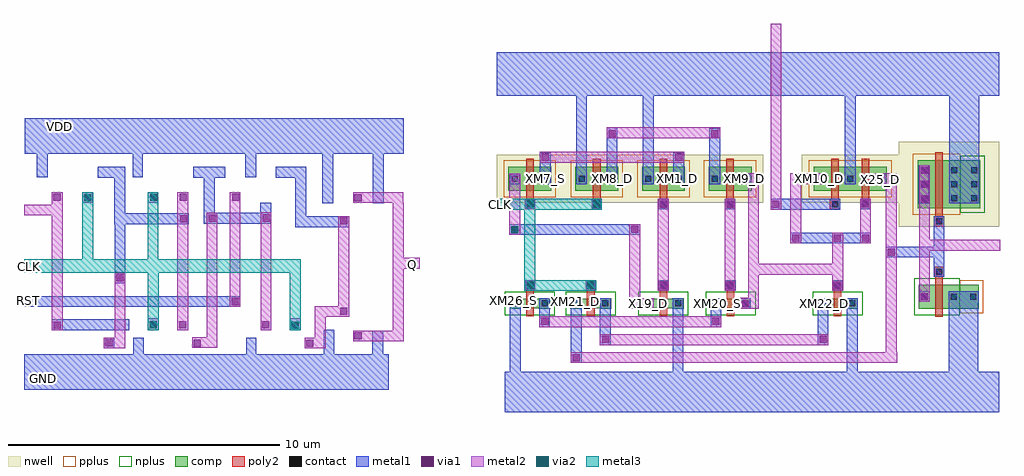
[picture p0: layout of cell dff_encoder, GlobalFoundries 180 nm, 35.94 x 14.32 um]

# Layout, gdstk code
import gdstk
lib = gdstk.Library(unit=1e-6, precision=5e-09)
def R(c, l, rs):  # rectangles x0, y0, x1, y1
    for r in rs: c.add(gdstk.rectangle(r[:2], r[2:], *l))
def A(c, l, x, y, w, h, nx, ny, dx, dy):  # array of equal rectangles
    R(c, l, [(x+i*dx, y+j*dy, x+i*dx+w, y+j*dy+h) for i in range(nx) for j in range(ny)])
def P(c, l, *ps):  # polygons
    for p in ps: c.add(gdstk.Polygon(p, *l))
nwell = (21, 0)
comp = (22, 0)
poly2 = (30, 0)
pplus = (31, 0)
nplus = (32, 0)
contact = (33, 0)
metal1 = (34, 0)
via1 = (35, 0)
metal2 = (36, 0)
via2 = (38, 0)
metal3 = (42, 0)

pfet_2 = lib.new_cell('pfet$2')
R(pfet_2, nwell, [(-0.9,-0.44,1.56,1.32)])
R(pfet_2, comp, [(-0.46,0,0,0.88), (0,0,0.66,0.88), (0.66,0,1.12,0.88)])
R(pfet_2, poly2, [(0.14,-0.68,0.52,-0.3), (0.19,-0.3,0.47,1.18)])
R(pfet_2, pplus, [(-0.63,-0.24,1.29,1.12)])
R(pfet_2, contact, [(0.22,-0.6,0.44,-0.38), (-0.34,0.33,-0.12,0.55), (0.78,0.33,1,0.55)])
R(pfet_2, metal1, [(0.14,-0.68,0.52,-0.3), (-0.42,0.25,-0.04,0.63), (0.7,0.25,1.08,0.63)])

nfet = lib.new_cell('nfet')
R(nfet, comp, [(-0.42,-0.01,0,0.37), (0.66,-0.01,1.08,0.37), (0,0,0.66,0.36)])
R(nfet, poly2, [(0.19,-0.3,0.47,0.66), (0.15,0.66,0.51,1.02)])
R(nfet, nplus, [(-0.59,-0.25,1.25,0.61)])
R(nfet, contact, [(-0.32,0.07,-0.1,0.29), (0.76,0.07,0.98,0.29), (0.22,0.73,0.44,0.95)])
R(nfet, metal1, [(-0.4,-0.01,-0.02,0.37), (0.68,-0.01,1.06,0.37), (0.14,0.65,0.52,1.03)])

nfet_3 = lib.new_cell('nfet$3')
R(nfet_3, comp, [(-0.42,-0.01,0,0.37), (0.66,-0.01,1.08,0.37), (0,0,0.66,0.36)])
R(nfet_3, poly2, [(0.19,-0.3,0.47,0.66), (0.15,0.66,0.51,1.02)])
R(nfet_3, nplus, [(-0.59,-0.25,1.25,0.61)])
R(nfet_3, contact, [(-0.32,0.07,-0.1,0.29), (0.76,0.07,0.98,0.29), (0.22,0.73,0.44,0.95)])
R(nfet_3, metal1, [(-0.4,-0.01,-0.02,0.37), (0.68,-0.01,1.06,0.37), (0.14,0.65,0.52,1.03)])

nfet_2 = lib.new_cell('nfet$2')
R(nfet_2, comp, [(-0.42,0,0,0.88), (0,0,0.66,0.88), (0.66,0,1.08,0.88), (1.08,0,1.79,0.88)])
R(nfet_2, poly2, [(0.19,-0.3,0.47,1.18), (0.15,1.18,0.51,1.54)])
R(nfet_2, pplus, [(1.08,-0.17,1.96,1.05)])
R(nfet_2, nplus, [(-0.59,-0.24,1.08,1.12)])
R(nfet_2, contact, [(-0.32,0.33,-0.1,0.55), (0.76,0.33,0.98,0.55), (1.47,0.33,1.69,0.55), (0.22,1.25,0.44,1.47)])
R(nfet_2, metal1, [(-0.4,0.25,-0.02,0.63), (0.68,0.25,1.06,0.63), (1.39,0.25,1.77,0.63), (0.14,1.17,0.52,1.55)])

pfet_1 = lib.new_cell('pfet$1')
R(pfet_1, nwell, [(-1.15,-0.69,2.54,2.45)])
R(pfet_1, comp, [(-0.46,0,0,1.76), (0,0,0.66,1.76), (0.66,0,1.12,1.76), (1.12,0,1.85,1.76)])
R(pfet_1, poly2, [(0.14,-0.68,0.52,-0.3), (0.19,-0.3,0.47,2.06)])
R(pfet_1, pplus, [(-0.63,-0.24,1.12,2)])
R(pfet_1, nplus, [(1.12,-0.17,2.02,1.93)])
A(pfet_1, contact, -0.34, 0.26, 0.22, 0.22, 1, 3, 0, 0.51)
A(pfet_1, contact, 0.78, 0.26, 0.22, 0.22, 1, 3, 0, 0.51)
A(pfet_1, contact, 1.51, 0.26, 0.22, 0.22, 1, 3, 0, 0.51)
R(pfet_1, contact, [(0.22,-0.6,0.44,-0.38)])
R(pfet_1, metal1, [(0.14,-0.68,0.52,-0.3), (-0.42,0.18,-0.04,1.58), (0.7,0.18,1.08,1.58), (1.43,0.18,1.81,1.58)])

dff_encoder = lib.new_cell('dff_encoder')
R(dff_encoder, metal1, [(20.32,2.815,38.515,4.315), (2.61,3.645,16.035,4.95), (36.66,4.315,37.75,7.27), (10.79,4.765,11.17,5.56), (6.635,4.805,7.015,5.56), (5.555,5.18,5.935,5.56), (21.59,5.955,21.97,7.02), (6.1,6.22,6.48,6.25), (11.315,9.925,11.715,10.545), (36.675,10.52,37.785,11.92), (36.675,10.52,37.785,15.035), (8.845,11.465,10.025,11.865), (2.63,12.335,16.59,13.64)])
P(dff_encoder, metal1, [(20.01,14.475),(20.01,16.08),(38.515,16.08),(38.515,14.475),(23.165,14.475)])
R(dff_encoder, via1, [(22.815,4.7,23.075,4.96), (8.86,5.23,9.12,5.49), (13.005,5.24,13.265,5.5), (5.61,5.245,5.87,5.505), (23.905,5.375,24.165,5.635), (31.905,5.375,32.165,5.635), (14.78,5.505,15.04,5.765), (3.705,5.895,3.965,6.155), (12.46,5.9,12.72,6.16), (7.235,5.91,7.495,6.17), (8.32,5.915,8.58,6.175), (11.385,5.915,11.645,6.175), (21.665,6.035,21.925,6.295), (27.955,6.035,28.215,6.295), (14.25,6.415,14.51,6.675), (29.045,6.695,29.305,6.955), (25.48,6.7,25.74,6.96), (10.255,6.77,10.515,7.03), (35.63,6.945,35.89,7.205), (32.435,7.345,32.695,7.605), (26.03,7.36,26.29,7.62), (28.485,7.36,28.745,7.62), (21.135,7.37,21.395,7.63), (23.35,7.37,23.61,7.63), (6.015,7.65,6.275,7.91), (34.42,8.585,34.68,8.845), (30.9,9.1,31.16,9.36), (32.435,9.1,32.695,9.36), (33.47,9.1,33.73,9.36), (24.97,9.425,25.23,9.685), (14.25,9.74,14.51,10), (8.355,9.81,8.615,10.07), (9.405,9.835,9.665,10.095), (11.395,9.845,11.655,10.105), (30.165,10.345,30.425,10.605), (26.035,10.355,26.295,10.615), (28.49,10.355,28.75,10.615), (23.57,10.36,23.83,10.62), (21.135,10.365,21.395,10.625), (33.465,10.365,33.725,10.625), (35.63,10.56,35.89,10.82), (14.78,10.585,15.04,10.845), (4.825,10.595,5.085,10.855), (3.695,10.61,3.955,10.87), (7.255,10.615,7.515,10.875), (8.35,10.615,8.61,10.875), (10.27,10.615,10.53,10.875), (35.63,11.085,35.89,11.345), (34.03,11.28,34.29,11.54), (29.045,11.285,29.305,11.545), (31.79,11.285,32.05,11.545), (35.63,11.605,35.89,11.865), (21.67,12.075,21.93,12.335), (26.6,12.075,26.86,12.335), (24.14,12.955,24.4,13.215), (27.915,12.955,28.175,13.215)])
R(dff_encoder, metal2, [(7.175,5.84,7.565,6.28), (12.4,5.85,12.8,6.285), (21.59,5.955,28.29,6.355), (21.05,7.3,21.43,7.68), (23.29,7.305,23.67,7.68), (21.05,10.295,21.43,10.675), (23.51,10.295,23.89,10.675), (4.76,10.545,5.15,10.925), (7.17,10.545,7.55,10.925)])
R(dff_encoder, via2, [(12.46,5.9,12.72,6.16), (7.235,5.91,7.495,6.17), (21.135,7.37,21.395,7.63), (23.35,7.37,23.61,7.63), (20.55,9.415,20.81,9.675), (23.57,10.36,23.83,10.62), (21.135,10.365,21.395,10.625), (4.825,10.595,5.085,10.855), (7.255,10.615,7.515,10.875)])
R(dff_encoder, metal3, [(2.61,7.965,5.11,8.465)])
dff_encoder.add(gdstk.FlexPath([(20.695,7.02),(20.695,4.315)], 0.4, ends="flush", simple_path=True, layer=34, datatype=0))  # metal1
dff_encoder.add(gdstk.FlexPath([(23.14,11.225),(23.14,14.475)], 0.4, ends="flush", simple_path=True, layer=34, datatype=0))  # metal1
dff_encoder.add(gdstk.FlexPath([(25.6,11.225),(25.6,14.475)], 0.4, ends="flush", simple_path=True, layer=34, datatype=0))  # metal1
dff_encoder.add(gdstk.FlexPath([(28.09,7.02),(28.09,5.955)], 0.4, ends="flush", simple_path=True, layer=34, datatype=0))  # metal1
dff_encoder.add(gdstk.FlexPath([(22.94,7.02),(22.94,4.64)], 0.4, ends="flush", simple_path=True, layer=34, datatype=0))  # metal1
dff_encoder.add(gdstk.FlexPath([(26.695,7.02),(26.695,4.315)], 0.4, ends="flush", simple_path=True, layer=34, datatype=0))  # metal1
dff_encoder.add(gdstk.FlexPath([(33.11,7.02),(33.11,4.315)], 0.4, ends="flush", simple_path=True, layer=34, datatype=0))  # metal1
dff_encoder.add(gdstk.FlexPath([(24.02,6.64),(24.02,5.355),(24.02,5.29)], 0.4, ends="flush", simple_path=True, layer=34, datatype=0))  # metal1
dff_encoder.add(gdstk.FlexPath([(32.03,6.64),(32.03,5.29)], 0.4, ends="flush", simple_path=True, layer=34, datatype=0))  # metal1
dff_encoder.add(gdstk.FlexPath([(5.93,9.95),(8.675,9.95)], 0.4, ends="flush", simple_path=True, layer=34, datatype=0))  # metal1
dff_encoder.add(gdstk.FlexPath([(10.58,6.9),(2.61,6.9)], 0.4, ends="flush", simple_path=True, layer=34, datatype=0))  # metal1
dff_encoder.add(gdstk.FlexPath([(13.84,5.44),(13.84,4.95)], 0.4, ends="flush", simple_path=True, layer=34, datatype=0))  # metal1
dff_encoder.add(gdstk.FlexPath([(13.84,5.44),(13.84,5.86)], 0.4, ends="flush", simple_path=True, layer=34, datatype=0))  # metal1
dff_encoder.add(gdstk.FlexPath([(15.63,5.82),(15.63,4.95)], 0.4, ends="flush", simple_path=True, layer=34, datatype=0))  # metal1
dff_encoder.add(gdstk.FlexPath([(3.64,6.05),(6.48,6.05)], 0.4, ends="flush", simple_path=True, layer=34, datatype=0))  # metal1
dff_encoder.add(gdstk.FlexPath([(5.33,11.665),(6.13,11.665),(6.13,9.75)], 0.4, ends="flush", simple_path=True, layer=34, datatype=0))  # metal1
dff_encoder.add(gdstk.FlexPath([(6.145,7.57),(6.145,9.75)], 0.4, ends="flush", simple_path=True, layer=34, datatype=0))  # metal1
dff_encoder.add(gdstk.FlexPath([(9.435,11.49),(9.435,9.96),(11.705,9.96)], 0.4, ends="flush", simple_path=True, layer=34, datatype=0))  # metal1
dff_encoder.add(gdstk.FlexPath([(11.885,11.665),(12.95,11.665)], 0.4, ends="flush", simple_path=True, layer=34, datatype=0))  # metal1
dff_encoder.add(gdstk.FlexPath([(12.795,11.865),(12.795,9.64)], 0.4, ends="flush", simple_path=True, layer=34, datatype=0))  # metal1
dff_encoder.add(gdstk.FlexPath([(6.8,11.475),(6.8,12.615)], 0.38, ends="flush", simple_path=True, layer=34, datatype=0))  # metal1
dff_encoder.add(gdstk.FlexPath([(10.955,11.475),(10.955,12.47)], 0.4, ends="flush", simple_path=True, layer=34, datatype=0))  # metal1
dff_encoder.add(gdstk.FlexPath([(3.28,11.475),(3.28,12.335)], 0.4, ends="flush", simple_path=True, layer=34, datatype=0))  # metal1
dff_encoder.add(gdstk.FlexPath([(15.65,10.52),(15.65,12.355)], 0.4, ends="flush", simple_path=True, layer=34, datatype=0))  # metal1
dff_encoder.add(gdstk.FlexPath([(13.79,10.52),(13.79,12.355)], 0.4, ends="flush", simple_path=True, layer=34, datatype=0))  # metal1
dff_encoder.add(gdstk.FlexPath([(12.675,9.84),(14.58,9.84)], 0.4, ends="flush", simple_path=True, layer=34, datatype=0))  # metal1
dff_encoder.add(gdstk.FlexPath([(26.72,11.225),(26.72,12.37)], 0.4, ends="flush", simple_path=True, layer=34, datatype=0))  # metal1
dff_encoder.add(gdstk.FlexPath([(21.8,11.225),(21.8,12.38)], 0.4, ends="flush", simple_path=True, layer=34, datatype=0))  # metal1
dff_encoder.add(gdstk.FlexPath([(20.48,9.55),(25.305,9.55)], 0.4, ends="flush", simple_path=True, layer=34, datatype=0))  # metal1
dff_encoder.add(gdstk.FlexPath([(36.305,10.04),(36.305,7.82)], 0.4, ends="flush", simple_path=True, layer=34, datatype=0))  # metal1
dff_encoder.add(gdstk.FlexPath([(36.66,7.08),(37.77,7.08)], 0.4, ends="flush", simple_path=True, layer=34, datatype=0))  # metal1
dff_encoder.add(gdstk.FlexPath([(36.505,8.725),(34.35,8.725)], 0.4, ends="flush", simple_path=True, layer=34, datatype=0))  # metal1
dff_encoder.add(gdstk.FlexPath([(33.035,11.225),(33.035,15.015)], 0.4, ends="flush", simple_path=True, layer=34, datatype=0))  # metal1
dff_encoder.add(gdstk.FlexPath([(30.83,9.24),(33.795,9.24)], 0.4, ends="flush", simple_path=True, layer=34, datatype=0))  # metal1
dff_encoder.add(gdstk.FlexPath([(32.665,10.485),(30.1,10.485)], 0.4, ends="flush", simple_path=True, layer=34, datatype=0))  # metal1
dff_encoder.add(gdstk.FlexPath([(28.05,11.225),(28.05,13.28)], 0.4, ends="flush", simple_path=True, layer=34, datatype=0))  # metal1
dff_encoder.add(gdstk.FlexPath([(24.26,11.225),(24.26,13.31)], 0.4, ends="flush", simple_path=True, layer=34, datatype=0))  # metal1
dff_encoder.add(gdstk.FlexPath([(23.82,5.49),(32.23,5.49)], 0.4, ends="flush", simple_path=True, layer=36, datatype=0))  # metal2
dff_encoder.add(gdstk.FlexPath([(32.57,7.3),(32.57,9.44)], 0.4, ends="flush", simple_path=True, layer=36, datatype=0))  # metal2
dff_encoder.add(gdstk.FlexPath([(34.55,6.18),(34.55,8.925)], 0.4, ends="flush", simple_path=True, layer=36, datatype=0))  # metal2
dff_encoder.add(gdstk.FlexPath([(22.74,4.84),(34.76,4.84)], 0.4, ends="flush", simple_path=True, layer=36, datatype=0))  # metal2
dff_encoder.add(gdstk.FlexPath([(34.55,6.18),(34.55,5.04)], 0.4, ends="flush", simple_path=True, layer=36, datatype=0))  # metal2
dff_encoder.add(gdstk.FlexPath([(29.675,8.085),(32.37,8.085)], 0.4, ends="flush", simple_path=True, layer=36, datatype=0))  # metal2
dff_encoder.add(gdstk.FlexPath([(10.38,6.7),(10.38,10.925)], 0.4, ends="flush", simple_path=True, layer=36, datatype=0))  # metal2
dff_encoder.add(gdstk.FlexPath([(16.415,8.315),(17.19,8.315)], 0.4, ends="flush", simple_path=True, layer=36, datatype=0))  # metal2
dff_encoder.add(gdstk.FlexPath([(12.95,5.37),(13.52,5.37),(13.52,6.53),(14.58,6.53)], 0.4, ends="flush", simple_path=True, layer=36, datatype=0))  # metal2
dff_encoder.add(gdstk.FlexPath([(8.8,5.39),(9.735,5.39)], 0.4, ends="flush", simple_path=True, layer=36, datatype=0))  # metal2
dff_encoder.add(gdstk.FlexPath([(5.555,5.37),(6.145,5.37),(6.145,7.965)], 0.4, ends="flush", simple_path=True, layer=36, datatype=0))  # metal2
dff_encoder.add(gdstk.FlexPath([(8.455,10.925),(8.455,5.84)], 0.4, ends="flush", simple_path=True, layer=36, datatype=0))  # metal2
dff_encoder.add(gdstk.FlexPath([(9.535,10.16),(9.535,5.19)], 0.4, ends="flush", simple_path=True, layer=36, datatype=0))  # metal2
dff_encoder.add(gdstk.FlexPath([(11.52,10.18),(11.52,5.84)], 0.4, ends="flush", simple_path=True, layer=36, datatype=0))  # metal2
dff_encoder.add(gdstk.FlexPath([(14.38,6.33),(14.38,10.04)], 0.4, ends="flush", simple_path=True, layer=36, datatype=0))  # metal2
dff_encoder.add(gdstk.FlexPath([(14.73,5.63),(16.59,5.63)], 0.4, ends="flush", simple_path=True, layer=36, datatype=0))  # metal2
dff_encoder.add(gdstk.FlexPath([(16.39,10.53),(16.39,5.43),(16.39,5.43),(16.39,5.43)], 0.4, ends="flush", simple_path=True, layer=36, datatype=0))  # metal2
dff_encoder.add(gdstk.FlexPath([(14.73,10.73),(16.57,10.73)], 0.4, ends="flush", simple_path=True, layer=36, datatype=0))  # metal2
dff_encoder.add(gdstk.FlexPath([(3.84,10.27),(2.61,10.27)], 0.4, ends="flush", simple_path=True, layer=36, datatype=0))  # metal2
dff_encoder.add(gdstk.FlexPath([(3.84,10.925),(3.84,5.85)], 0.4, ends="flush", simple_path=True, layer=36, datatype=0))  # metal2
dff_encoder.add(gdstk.FlexPath([(21.6,12.215),(26.92,12.215)], 0.4, ends="flush", simple_path=True, layer=36, datatype=0))  # metal2
dff_encoder.add(gdstk.FlexPath([(20.68,11.605),(20.68,9.35)], 0.4, ends="flush", simple_path=True, layer=36, datatype=0))  # metal2
dff_encoder.add(gdstk.FlexPath([(25.105,6.64),(25.105,9.75)], 0.4, ends="flush", simple_path=True, layer=36, datatype=0))  # metal2
dff_encoder.add(gdstk.FlexPath([(35.57,8.97),(38.55,8.97)], 0.4, ends="flush", simple_path=True, layer=36, datatype=0))  # metal2
dff_encoder.add(gdstk.FlexPath([(35.77,6.89),(35.77,11.92)], 0.4, ends="flush", simple_path=True, layer=36, datatype=0))  # metal2
dff_encoder.add(gdstk.FlexPath([(24.905,6.825),(25.805,6.825)], 0.4, ends="flush", simple_path=True, layer=36, datatype=0))  # metal2
dff_encoder.add(gdstk.FlexPath([(34.55,8.925),(34.55,11.605)], 0.4, ends="flush", simple_path=True, layer=36, datatype=0))  # metal2
dff_encoder.add(gdstk.FlexPath([(33.965,11.415),(34.75,11.415)], 0.4, ends="flush", simple_path=True, layer=36, datatype=0))  # metal2
dff_encoder.add(gdstk.FlexPath([(32.105,11.415),(31.03,11.415),(31.03,9.04)], 0.4, ends="flush", simple_path=True, layer=36, datatype=0))  # metal2
dff_encoder.add(gdstk.FlexPath([(33.595,10.675),(33.595,9.045)], 0.4, ends="flush", simple_path=True, layer=36, datatype=0))  # metal2
dff_encoder.add(gdstk.FlexPath([(30.3,10.285),(30.3,17.135)], 0.4, ends="flush", simple_path=True, layer=36, datatype=0))  # metal2
dff_encoder.add(gdstk.FlexPath([(28.25,13.11),(24.06,13.11)], 0.4, ends="flush", simple_path=True, layer=36, datatype=0))  # metal2
dff_encoder.add(gdstk.FlexPath([(26.155,7.3),(26.155,10.675)], 0.4, ends="flush", simple_path=True, layer=36, datatype=0))  # metal2
dff_encoder.add(gdstk.FlexPath([(28.61,7.3),(28.61,10.675)], 0.4, ends="flush", simple_path=True, layer=36, datatype=0))  # metal2
dff_encoder.add(gdstk.FlexPath([(28.98,11.415),(29.475,11.415),(29.475,6.64)], 0.4, ends="flush", simple_path=True, layer=36, datatype=0))  # metal2
dff_encoder.add(gdstk.FlexPath([(28.98,6.83),(29.675,6.83)], 0.4, ends="flush", simple_path=True, layer=36, datatype=0))  # metal2
dff_encoder.add(gdstk.FlexPath([(12.6,5.85),(12.6,8.465)], 0.4, ends="flush", simple_path=True, layer=42, datatype=0))  # metal3
dff_encoder.add(gdstk.FlexPath([(4.83,8.215),(12.8,8.215)], 0.5, ends="flush", simple_path=True, layer=42, datatype=0))  # metal3
dff_encoder.add(gdstk.FlexPath([(4.96,10.925),(4.96,7.965)], 0.4, ends="flush", simple_path=True, layer=42, datatype=0))  # metal3
dff_encoder.add(gdstk.FlexPath([(7.36,10.925),(7.36,8.465)], 0.4, ends="flush", simple_path=True, layer=42, datatype=0))  # metal3
dff_encoder.add(gdstk.FlexPath([(7.365,5.85),(7.365,7.965)], 0.4, ends="flush", simple_path=True, layer=42, datatype=0))  # metal3
dff_encoder.add(gdstk.FlexPath([(23.685,7.49),(21.04,7.49)], 0.4, ends="flush", simple_path=True, layer=42, datatype=0))  # metal3
dff_encoder.add(gdstk.FlexPath([(21.24,10.675),(21.24,7.3)], 0.4, ends="flush", simple_path=True, layer=42, datatype=0))  # metal3
dff_encoder.add(gdstk.FlexPath([(21.43,10.485),(20.01,10.485)], 0.4, ends="flush", simple_path=True, layer=42, datatype=0))  # metal3
dff_encoder.add(gdstk.FlexPath([(21.05,10.485),(23.89,10.485)], 0.4, ends="flush", simple_path=True, layer=42, datatype=0))  # metal3
dff_encoder.add(gdstk.Reference(pfet_2, (32.145,10.975)))
dff_encoder.add(gdstk.Reference(pfet_2, (23.37,10.975)))
dff_encoder.add(gdstk.Reference(pfet_2, (20.91,10.975)))
dff_encoder.add(gdstk.Reference(pfet_2, (25.83,10.975)))
dff_encoder.add(gdstk.Reference(pfet_2, (28.28,10.975)))
dff_encoder.add(gdstk.Reference(nfet, (32.24,6.65)))
dff_encoder.add(gdstk.Reference(nfet, (23.15,6.65)))
dff_encoder.add(gdstk.Reference(nfet_3, (25.825,6.65)))
dff_encoder.add(gdstk.Reference(nfet_2, (35.98,6.64)))
dff_encoder.add(gdstk.Reference(pfet_1, (35.975,10.34)))
dff_encoder.add(gdstk.Reference(nfet, (20.91,6.65)))
dff_encoder.add(gdstk.Reference(pfet_2, (33.265,10.975)))
dff_encoder.add(gdstk.Reference(nfet, (28.3,6.65)))
dff_encoder.add(gdstk.Label('XM26_S', (20.65,6.92), layer=34, texttype=0))
dff_encoder.add(gdstk.Label('XM26_D', (21.72,6.895), layer=34, texttype=0))
dff_encoder.add(gdstk.Label('XM21_D', (22.93,6.89), layer=34, texttype=0))
dff_encoder.add(gdstk.Label('XM21_S', (23.955,6.835), layer=34, texttype=0))
dff_encoder.add(gdstk.Label('XM20_S', (28.145,6.83), layer=34, texttype=0))
dff_encoder.add(gdstk.Label('XM22_D', (32.075,6.83), layer=34, texttype=0))
dff_encoder.add(gdstk.Label('XM8_D', (24.265,11.415), layer=34, texttype=0))
dff_encoder.add(gdstk.Label('XM7_S', (21.8,11.415), layer=34, texttype=0))
dff_encoder.add(gdstk.Label('XM1_S', (25.485,11.415), layer=34, texttype=0))
dff_encoder.add(gdstk.Label('XM1_D', (26.69,11.415), layer=34, texttype=0))
dff_encoder.add(gdstk.Label('XM7_D', (20.69,11.415), layer=34, texttype=0))
dff_encoder.add(gdstk.Label('XM8_S', (23.135,11.415), layer=34, texttype=0))
dff_encoder.add(gdstk.Label('X19_D', (25.615,6.83), layer=34, texttype=0))
dff_encoder.add(gdstk.Label('XM10_D', (31.915,11.415), layer=34, texttype=0))
dff_encoder.add(gdstk.Label('XM22_S', (33.11,6.83), layer=34, texttype=0))
dff_encoder.add(gdstk.Label('XM20_D', (29.28,6.83), layer=34, texttype=0))
dff_encoder.add(gdstk.Label('RST', (2.77,6.935), layer=34, texttype=10))
dff_encoder.add(gdstk.Label('GND', (3.33,4.05), layer=34, texttype=10))
dff_encoder.add(gdstk.Label('VDD', (3.92,13.345), layer=34, texttype=10))
dff_encoder.add(gdstk.Label('XM9_D', (29.135,11.415), layer=36, texttype=0))
dff_encoder.add(gdstk.Label('X25_D', (34.16,11.41), layer=36, texttype=0))
dff_encoder.add(gdstk.Label('X25_S', (32.97,11.41), layer=36, texttype=0))
dff_encoder.add(gdstk.Label('XM9_S', (28.05,11.415), layer=36, texttype=0))
dff_encoder.add(gdstk.Label('Q', (16.915,8.255), layer=36, texttype=10))
dff_encoder.add(gdstk.Label('CLK', (2.795,8.18), layer=42, texttype=10))
dff_encoder.add(gdstk.Label('CLK', (20.15,10.485), layer=42, texttype=10))

lib.write_gds('dff_encoder.gds')
